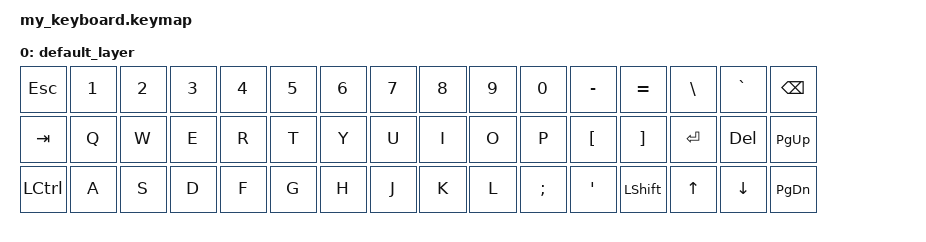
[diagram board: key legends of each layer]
#include <behaviors.dtsi>
#include <dt-bindings/zmk/keys.h>
#include <dt-bindings/zmk/rgb.h>

/ {
    behaviors {
        /* Define a custom actuation: Press at 2.0mm (50%), Release at 1.8mm */
        he_standard: he_standard {
            compatible = "he,behavior-adjustable-actuation";
            #binding-cells = <0>;
            press-threshold-percent = <50>;
            release-threshold-percent = <45>;
        };
    };
    keymap {
        compatible = "zmk,keymap";
        default_layer {
            // The bindings list must contain exactly one entry for every RC entry you defined in the map above (48 total).
            // Format: &kp stands for "Key Press." It is followed by the keycode, found in the ZMK Keycodes gallery: https://zmk.dev/docs/keymaps/list-of-keycodes
	    // You can add a custom behaviour to any analog key, for example add standard behaviour to key A: '&he_standard &kp A'
	    // Use &none if you dont want to use a key.
            bindings = <
                /* Row 1 (Mux 1) */
                &kp ESC   &kp N1 &kp N2 &kp N3 &kp N4 &kp N5 &kp N6 &kp N7 &kp N8 &kp N9 &kp N0 &kp MINUS &kp EQUAL &kp BSLH &kp GRAVE &kp BSPC
                /* Row 2 (Mux 2) */
                &kp TAB   &kp Q  &kp W  &kp E  &kp R  &kp T  &kp Y  &kp U  &kp I  &kp O  &kp P  &kp LBKT  &kp RBKT  &kp RET  &kp DEL   &kp PG_UP
                /* Row 3 (Mux 3) */
                &kp LCTRL &kp A  &kp S  &kp D  &kp F  &kp G  &kp H  &kp J  &kp K  &kp L  &kp SEMI &kp SQT &kp LSHIFT &kp UP  &kp DOWN  &kp PG_DN
            >;
        };
    };
};
